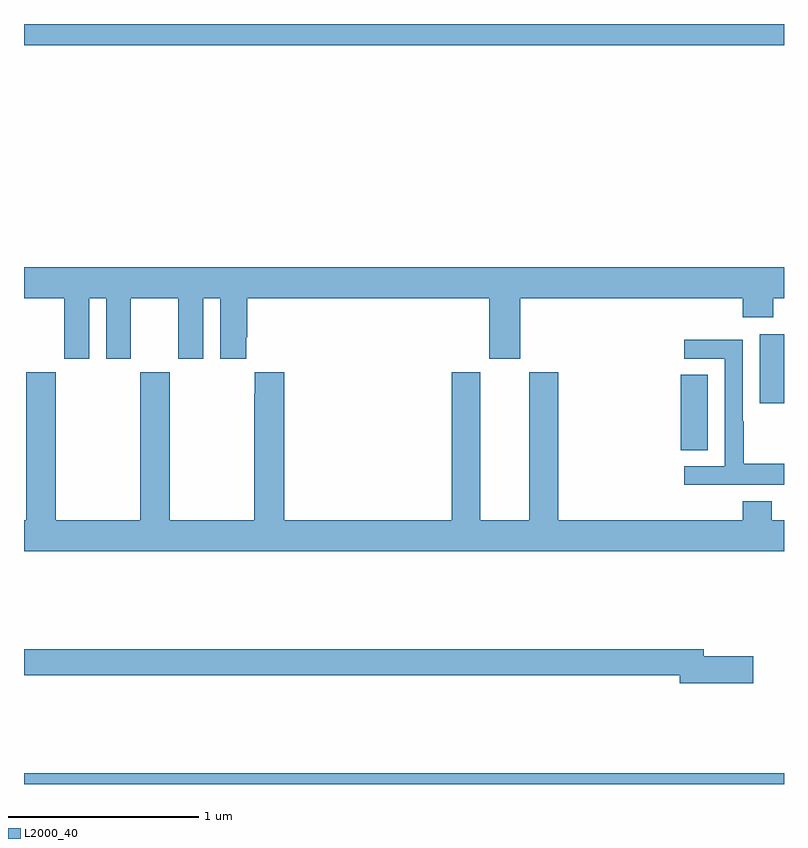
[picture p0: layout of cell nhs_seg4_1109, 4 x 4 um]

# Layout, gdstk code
import gdstk
lib = gdstk.Library(unit=1e-6, precision=1e-09)
def R(c, l, rs):  # rectangles x0, y0, x1, y1
    for r in rs: c.add(gdstk.rectangle(r[:2], r[2:], *l))
def P(c, l, *ps):  # polygons
    for p in ps: c.add(gdstk.Polygon(p, *l))
L2000_40 = (2000, 40)

nhs_seg4_1109 = lib.new_cell('nhs_seg4_1109')
R(nhs_seg4_1109, L2000_40, [(167,824.9,171,824.956), (170.456,826.657,170.599,827.054), (170.873,826.905,171,827.266), (167,828.788,171,828.9)])
P(nhs_seg4_1109, L2000_40, [(167.344,827.456),(167.432,827.456),(167.432,827.139),(167.563,827.139),(167.563,827.456),(167.813,827.456),(167.813,827.139),(167.944,827.139),(167.944,827.456),(168.032,827.456),(168.032,827.139),(168.169,827.139),(168.169,827.251),(168.176,827.251),(168.176,827.456),(169.448,827.456),(169.448,827.139),(169.612,827.139),(169.612,827.456),(170.783,827.456),(170.783,827.357),(170.943,827.357),(170.943,827.456),(171,827.456),(171,827.62),(167,827.62),(167,827.456),(167.213,827.456),(167.213,827.139),(167.344,827.139)],
  [(171,826.585),(170.787,826.585),(170.787,826.808),(170.784,826.808),(170.784,827.238),(170.475,827.238),(170.475,827.139),(170.688,827.139),(170.688,826.572),(170.475,826.572),(170.475,826.476),(171,826.476)],
  [(171,826.288),(170.935,826.288),(170.935,826.387),(170.783,826.387),(170.783,826.288),(169.811,826.288),(169.811,827.067),(169.658,827.067),(169.658,826.288),(169.402,826.288),(169.402,827.067),(169.25,827.067),(169.25,826.288),(168.371,826.288),(168.371,827.068),(168.215,827.068),(168.215,826.955),(168.211,826.955),(168.211,826.288),(167.766,826.288),(167.766,827.068),(167.611,827.068),(167.611,826.288),(167.166,826.288),(167.166,827.068),(167.011,827.068),(167.011,826.288),(167,826.288),(167,826.124),(171,826.124)],
  [(170.839,825.572),(170.578,825.572),(170.578,825.608),(167,825.608),(167,825.472),(170.45,825.472),(170.45,825.43),(170.839,825.43)])

lib.write_gds('nhs_seg4_1109.gds')
